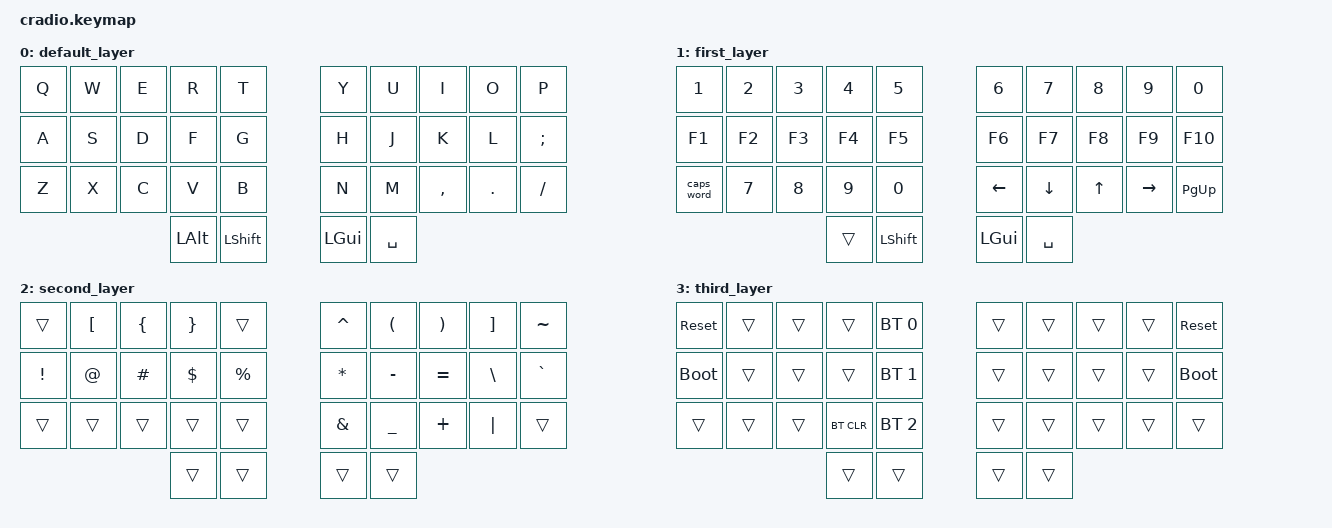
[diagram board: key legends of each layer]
// Copyright (c) 2022 The ZMK Contributors
// SPDX-License-Identifier: MIT

#include <behaviors.dtsi>
#include <dt-bindings/zmk/keys.h>
#include <dt-bindings/zmk/bt.h>

/ {
    combos {
        compatible = "zmk,combos";
        combo_layer_0 {
            timeout-ms = <50>;
            key-positions = <32 0>;
            bindings = <&to 0>;
        };
        combo_layer_1 {
            timeout-ms = <50>;
            key-positions = <32 1>;
            bindings = <&to 1>;
        };
        combo_layer_2 {
            timeout-ms = <50>;
            key-positions = <32 2>;
            bindings = <&to 2>;
        };
        combo_layer_3 {
            timeout-ms = <50>;
            key-positions = <32 3>;
            bindings = <&to 3>;
        };
        combo_1 {
            timeout-ms = <50>;
            key-positions = <33 0>;
            bindings = <&kp N1>;
        };
        combo_2 {
            timeout-ms = <50>;
            key-positions = <33 1>;
            bindings = <&kp N2>;
        };
        combo_3 {
            timeout-ms = <50>;
            key-positions = <33 2>;
            bindings = <&kp N3>;
        };
        combo_4 {
            timeout-ms = <50>;
            key-positions = <33 3>;
            bindings = <&kp N4>;
        };
        combo_5 {
            timeout-ms = <50>;
            key-positions = <33 4>;
            bindings = <&kp N5>;
        };
        combo_6 {
            timeout-ms = <50>;
            key-positions = <33 5>;
            bindings = <&kp N6>;
        };
        combo_7 {
            timeout-ms = <50>;
            key-positions = <33 6>;
            bindings = <&kp N7>;
        };
        combo_8 {
            timeout-ms = <50>;
            key-positions = <33 7>;
            bindings = <&kp N8>;
        };
        combo_9 {
            timeout-ms = <50>;
            key-positions = <33 8>;
            bindings = <&kp N9>;
        };
        combo_0 {
            timeout-ms = <50>;
            key-positions = <33 9>;
            bindings = <&kp N0>;
        };

        combo_desktop_1 {
            timeout-ms = <50>;
            key-positions = <32 5>;
            bindings = <&kp LG(N1)>;
        };
        combo_desktop_2 {
            timeout-ms = <50>;
            key-positions = <32 6>;
            bindings = <&kp LG(N2)>;
        };
        combo_desktop_3 {
            timeout-ms = <50>;
            key-positions = <32 7>;
            bindings = <&kp LG(N3)>;
        };
        combo_desktop_4 {
            timeout-ms = <50>;
            key-positions = <32 8>;
            bindings = <&kp LG(N4)>;
        };
        combo_desktop_5 {
            timeout-ms = <50>;
            key-positions = <32 9>;
            bindings = <&kp LG(N5)>;
        };
        combo_desktop_6 {
            timeout-ms = <50>;
            key-positions = <32 15>;
            bindings = <&kp LG(N6)>;
        };
        combo_desktop_7 {
            timeout-ms = <50>;
            key-positions = <32 16>;
            bindings = <&kp LG(N7)>;
        };
        combo_desktop_8 {
            timeout-ms = <50>;
            key-positions = <32 17>;
            bindings = <&kp LG(N8)>;
        };
        combo_desktop_9 {
            timeout-ms = <50>;
            key-positions = <32 18>;
            bindings = <&kp LG(N9)>;
        };
        combo_desktop_10 {
            timeout-ms = <50>;
            key-positions = <32 19>;
            bindings = <&kp LG(N0)>;
        };
        combo_backspace {
            timeout-ms = <50>;
            key-positions = <5 6>;
            bindings = <&kp BSPC>;
        };
        combo_tab {
            timeout-ms = <50>;
            key-positions = <0 11>;
            bindings = <&kp TAB>;
        };
        combo_enter {
            timeout-ms = <50>;
            key-positions = <8 19>;
            bindings = <&kp ENTER>;
        };
        combo_esc {
            timeout-ms = <50>;
            key-positions = <0 1>;
            bindings = <&kp ESC>;
        };
    };
};
/ {

    keymap {
        compatible = "zmk,keymap";
        default_layer {
            bindings = <
        //╭──────────┬──────────┬──────────┬──────────┬──────────╮   ╭──────────┬──────────┬──────────┬──────────┬──────────╮
        //│  Q       │  W       │  E       │  R       │  T       │   │  Y       │  U       │  I       │  O       │  P       │
            &kp Q      &kp W      &kp E      &kp R      &kp T          &kp Y      &kp U      &kp I      &kp O      &kp P
        //├──────────┼──────────┼──────────┼──────────┼──────────┤   ├──────────┼──────────┼──────────┼──────────┼──────────┤
        //│  A       │  S       │  D       │  F       │  G       │   │  H       │  J       │  K       │  L       │ ' "      │
            &kp A      &kp S      &kp D      &kp F      &kp G          &kp H      &kp J      &kp K      &kp L      &kp SEMI
        //├──────────┼──────────┼──────────┼──────────┼──────────┤   ├──────────┼──────────┼──────────┼──────────┼──────────┤
        //│  Z       │  X       │  C       │  V       │  B       │   │  N       │  M       │ , <      │ . >      │ / ?      │
            &kp Z      &kp X      &kp C      &kp V      &kp B          &kp N      &kp M      &kp COMMA  &kp DOT    &kp FSLH
        //╰──────────┴──────────┴──────────┼──────────┼──────────┤   ├──────────┼──────────┼──────────┴──────────┴──────────╯
                                            &kp LALT   &kp LSHIFT      &kp LGUI   &kp SPACE
        //                                 ╰──────────┴──────────╯   ╰──────────┴──────────╯
            >;
        };

        first_layer {
            bindings = <
        //╭──────────┬──────────┬──────────┬──────────┬──────────╮   ╭──────────┬──────────┬──────────┬──────────┬──────────╮
        //│          │          │          │          │          │   │          │          │          │          │          │
            &kp N1     &kp N2     &kp N3     &kp N4     &kp N5         &kp N6     &kp N7     &kp N8     &kp N9     &kp N0
        //├──────────┼──────────┼──────────┼──────────┼──────────┤   ├──────────┼──────────┼──────────┼──────────┼──────────┤
        //│          │          │          │          │          │   │          │          │          │          │          │
            &kp F1     &kp F2     &kp F3     &kp F4     &kp F5         &kp F6     &kp F7     &kp F8     &kp F9     &kp F10
        //├──────────┼──────────┼──────────┼──────────┼──────────┤   ├──────────┼──────────┼──────────┼──────────┼──────────┤
        //│          │          │          │          │          │   │          │          │          │          │          │
           &caps_word  &kp N7     &kp N8     &kp N9     &kp N0         &kp LEFT   &kp DOWN   &kp UP     &kp RIGHT  &kp PG_UP
        //╰──────────┴──────────┴──────────┼──────────┼──────────┤   ├──────────┼──────────┼──────────┴──────────┴──────────╯
                                             &trans    &kp LSHIFT      &kp LGUI   &kp SPACE
        //                                 ╰──────────┴──────────╯   ╰──────────┴──────────╯
            >;
        };

        second_layer {
            bindings = <
        //╭──────────┬──────────┬──────────┬──────────┬──────────╮   ╭──────────┬──────────┬──────────┬──────────┬──────────╮
        //│          │          │          │          │          │   │          │          │          │          │          │
            &trans     &kp LBKT   &kp LBRC   &kp RBRC   &trans         &kp CARET  &kp LPAR   &kp RPAR   &kp RBKT   &kp TILDE
        //├──────────┼──────────┼──────────┼──────────┼──────────┤   ├──────────┼──────────┼──────────┼──────────┼──────────┤
        //│          │          │          │          │          │   │          │          │          │          │          │
            &kp EXCL   &kp AT     &kp HASH   &kp DLLR   &kp PRCNT      &kp ASTRK  &kp MINUS  &kp EQUAL  &kp BSLH   &kp GRAVE
        //├──────────┼──────────┼──────────┼──────────┼──────────┤   ├──────────┼──────────┼──────────┼──────────┼──────────┤
        //│          │          │          │          │          │   │          │          │          │          │          │
            &trans     &trans     &trans     &trans     &trans         &kp AMPS   &kp UNDER  &kp PLUS   &kp PIPE   &trans
        //╰──────────┴──────────┴──────────┼──────────┼──────────┤   ├──────────┼──────────┼──────────┴──────────┴──────────╯
                                             &trans     &trans         &trans     &trans
        //                                 ╰──────────┴──────────╯   ╰──────────┴──────────╯
            >;
        };

        third_layer {
            bindings = <
        //╭──────────┬──────────┬──────────┬──────────┬──────────╮   ╭──────────┬──────────┬──────────┬──────────┬──────────╮
        //│ RESET    │          │          │          │PROFILE 0 │   │          │          │          │          │  RESET   │
           &sys_reset  &trans     &trans     &trans    &bt BT_SEL 0    &trans     &trans     &trans     &trans    &sys_reset
        //├──────────┼──────────┼──────────┼──────────┼──────────┤   ├──────────┼──────────┼──────────┼──────────┼──────────┤
        //│BOOTLOADER│          │          │          │PROFILE 1 │   │          │          │          │          │BOOTLOADER│
          &bootloader  &trans     &trans     &trans    &bt BT_SEL 1    &trans     &trans     &trans     &trans    &bootloader
        //├──────────┼──────────┼──────────┼──────────┼──────────┤   ├──────────┼──────────┼──────────┼──────────┼──────────┤
        //│          │          │          │ CLEAR BT │PROFILE 2 │   │          │          │          │          │          │
            &trans     &trans     &trans    &bt BT_CLR &bt BT_SEL 2    &trans     &trans     &trans     &trans     &trans
        //╰──────────┴──────────┴──────────┼──────────┼──────────┤   ├──────────┼──────────┼──────────┴──────────┴──────────╯
                                             &trans     &trans         &trans     &trans
        //                                 ╰──────────┴──────────╯   ╰──────────┴──────────╯
            >;
        };
    };
};
